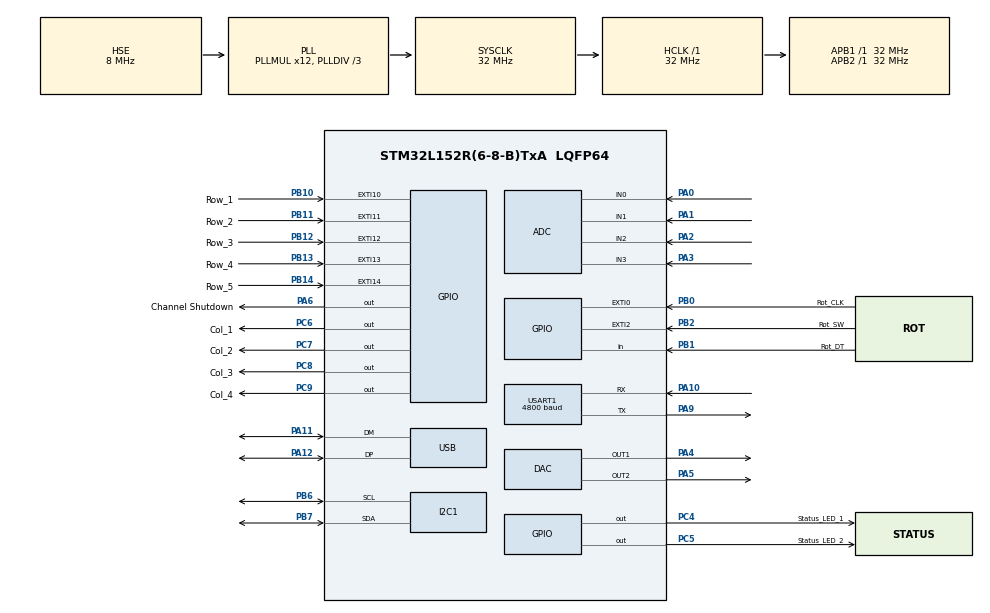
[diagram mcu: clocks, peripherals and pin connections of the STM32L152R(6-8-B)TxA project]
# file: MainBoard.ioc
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ADC.Channel-0\#ChannelRegularConversion=ADC_CHANNEL_0
ADC.Channel-1\#ChannelRegularConversion=ADC_CHANNEL_1
ADC.Channel-2\#ChannelRegularConversion=ADC_CHANNEL_2
ADC.Channel-3\#ChannelRegularConversion=ADC_CHANNEL_3
ADC.Channel-4\#ChannelRegularConversion=ADC_CHANNEL_VREFINT
ADC.ClockPrescaler=ADC_CLOCK_ASYNC_DIV4
ADC.ContinuousConvMode=ENABLE
ADC.DMAContinuousRequests=ENABLE
ADC.NbrOfConversion=5
ADC.NbrOfConversionFlag=1
ADC.Rank-0\#ChannelRegularConversion=1
ADC.Rank-1\#ChannelRegularConversion=2
ADC.Rank-2\#ChannelRegularConversion=3
ADC.Rank-3\#ChannelRegularConversion=4
ADC.Rank-4\#ChannelRegularConversion=5
ADC.SamplingTime-0\#ChannelRegularConversion=ADC_SAMPLETIME_192CYCLES
ADC.SamplingTime-1\#ChannelRegularConversion=ADC_SAMPLETIME_192CYCLES
ADC.SamplingTime-2\#ChannelRegularConversion=ADC_SAMPLETIME_192CYCLES
ADC.SamplingTime-3\#ChannelRegularConversion=ADC_SAMPLETIME_192CYCLES
ADC.SamplingTime-4\#ChannelRegularConversion=ADC_SAMPLETIME_192CYCLES
ADC.ScanConvMode=ADC_SCAN_ENABLE
Dma.ADC.0.Direction=DMA_PERIPH_TO_MEMORY
Dma.ADC.0.Instance=DMA1_Channel1
Dma.ADC.0.MemDataAlignment=DMA_MDATAALIGN_HALFWORD
Dma.ADC.0.MemInc=DMA_MINC_ENABLE
Dma.ADC.0.Mode=DMA_CIRCULAR
Dma.ADC.0.PeriphDataAlignment=DMA_PDATAALIGN_HALFWORD
Dma.ADC.0.PeriphInc=DMA_PINC_DISABLE
Dma.ADC.0.Priority=DMA_PRIORITY_LOW
Dma.Request0=ADC
Dma.Request1=USART1_RX
Dma.USART1_RX.1.Direction=DMA_PERIPH_TO_MEMORY
Dma.USART1_RX.1.Instance=DMA1_Channel5
Dma.USART1_RX.1.MemDataAlignment=DMA_MDATAALIGN_BYTE
Dma.USART1_RX.1.MemInc=DMA_MINC_ENABLE
Dma.USART1_RX.1.Mode=DMA_CIRCULAR
Dma.USART1_RX.1.PeriphDataAlignment=DMA_PDATAALIGN_BYTE
Dma.USART1_RX.1.PeriphInc=DMA_PINC_DISABLE
Dma.USART1_RX.1.Priority=DMA_PRIORITY_LOW
Mcu.Family=STM32L1
Mcu.Name=STM32L152R(6-8-B)TxA
Mcu.Package=LQFP64
NVIC.DMA1_Channel1_IRQn=true\:0\:0\:false\:false\:true\:false\:true\:true
NVIC.DMA1_Channel5_IRQn=true\:0\:0\:false\:false\:true\:false\:true\:true
NVIC.EXTI0_IRQn=true\:0\:0\:false\:false\:true\:true\:true\:true
NVIC.EXTI15_10_IRQn=true\:0\:0\:false\:false\:true\:true\:true\:true
NVIC.EXTI2_IRQn=true\:0\:0\:false\:false\:true\:true\:true\:true
NVIC.PriorityGroup=NVIC_PRIORITYGROUP_4
NVIC.TIM2_IRQn=true\:0\:0\:false\:false\:true\:true\:true\:true
NVIC.TIM3_IRQn=true\:0\:0\:false\:false\:true\:true\:true\:true
NVIC.USB_LP_IRQn=true\:0\:0\:false\:false\:true\:false\:true\:true
PA0-WKUP1.Mode=IN0
PA0-WKUP1.Signal=ADC_IN0
PA1.Mode=IN1
PA1.Signal=ADC_IN1
PA10.Mode=Asynchronous
PA10.Signal=USART1_RX
PA11.Mode=Device
PA11.Signal=USB_DM
PA12.Mode=Device
PA12.Signal=USB_DP
PA13.Mode=Serial_Wire
PA13.Signal=SYS_JTMS-SWDIO
PA14.Mode=Serial_Wire
PA14.Signal=SYS_JTCK-SWCLK
PA2.Mode=IN2
PA2.Signal=ADC_IN2
PA3.Mode=IN3
PA3.Signal=ADC_IN3
PA4.Signal=COMP_DAC1_group
PA5.Signal=COMP_DAC2_group
PA6.GPIO_Label=Channel Shutdown
PA6.PinState=GPIO_PIN_SET
PA6.Signal=GPIO_Output
PA9.Mode=Asynchronous
PA9.Signal=USART1_TX
PB0.GPIO_Label=Rot_CLK
PB0.GPIO_ModeDefaultEXTI=GPIO_MODE_IT_FALLING
PB0.GPIO_PuPd=GPIO_PULLUP
PB0.Signal=GPXTI0
PB1.GPIO_Label=Rot_DT
PB1.Signal=GPIO_Input
PB10.GPIO_Label=Row_1
PB10.GPIO_ModeDefaultEXTI=GPIO_MODE_IT_RISING_FALLING
PB10.GPIO_PuPd=GPIO_PULLUP
PB10.Signal=GPXTI10
PB11.GPIO_Label=Row_2
PB11.GPIO_ModeDefaultEXTI=GPIO_MODE_IT_RISING_FALLING
PB11.GPIO_PuPd=GPIO_PULLUP
PB11.Signal=GPXTI11
PB12.GPIO_Label=Row_3
PB12.GPIO_ModeDefaultEXTI=GPIO_MODE_IT_RISING_FALLING
PB12.GPIO_PuPd=GPIO_PULLUP
PB12.Signal=GPXTI12
PB13.GPIO_Label=Row_4
PB13.GPIO_ModeDefaultEXTI=GPIO_MODE_IT_RISING_FALLING
PB13.GPIO_PuPd=GPIO_PULLUP
PB13.Signal=GPXTI13
PB14.GPIO_Label=Row_5
PB14.GPIO_ModeDefaultEXTI=GPIO_MODE_IT_RISING_FALLING
PB14.GPIO_PuPd=GPIO_PULLUP
PB14.Signal=GPXTI14
PB2.GPIO_Label=Rot_SW
PB2.GPIO_ModeDefaultEXTI=GPIO_MODE_IT_FALLING
PB2.GPIO_PuPd=GPIO_PULLUP
PB2.Signal=GPXTI2
PB6.GPIO_Pu=GPIO_NOPULL
PB6.Mode=I2C
PB6.Signal=I2C1_SCL
PB7.GPIO_Pu=GPIO_NOPULL
PB7.Mode=I2C
PB7.Signal=I2C1_SDA
PC4.GPIO_Label=Status_LED_1
PC4.Signal=GPIO_Output
PC5.GPIO_Label=Status_LED_2
PC5.Signal=GPIO_Output
PC6.GPIO_Label=Col_1
PC6.Signal=GPIO_Output
PC7.GPIO_Label=Col_2
PC7.Signal=GPIO_Output
PC8.GPIO_Label=Col_3
PC8.Signal=GPIO_Output
PC9.GPIO_Label=Col_4
PC9.Signal=GPIO_Output
PH0-OSC_IN.Mode=HSE-External-Oscillator
PH0-OSC_IN.Signal=RCC_OSC_IN
PH1-OSC_OUT.Mode=HSE-External-Oscillator
PH1-OSC_OUT.Signal=RCC_OSC_OUT
ProjectManager.HeapSize=0x1000
ProjectManager.StackSize=0x2000
ProjectManager.TargetToolchain=MDK-ARM V5
RCC.48MHZClocksFreq_Value=48000000
RCC.AHBFreq_Value=32000000
RCC.APB1Freq_Value=32000000
RCC.APB1TimFreq_Value=32000000
RCC.APB2Freq_Value=32000000
RCC.APB2TimFreq_Value=32000000
RCC.HCLKFreq_Value=32000000
RCC.HSE_VALUE=8000000
RCC.HSI_VALUE=16000000
RCC.LSE_VALUE=32768
RCC.MSI_VALUE=2097000
RCC.PLLDIV=RCC_PLL_DIV3
RCC.PLLMUL=RCC_PLL_MUL12
RCC.SYSCLKFreq_VALUE=32000000
RCC.SYSCLKSource=RCC_SYSCLKSOURCE_PLLCLK
RCC.VCOOutputFreq_Value=96000000
SH.COMP_DAC1_group.0=DAC_OUT1,DAC_OUT1
SH.COMP_DAC2_group.0=DAC_OUT2,DAC_OUT2
TIM2.Period=10
TIM2.Prescaler=32000
TIM3.Period=500
TIM3.Prescaler=32000
USART1.BaudRate=4800
USART1.Parity=PARITY_ODD
USART1.VirtualMode=VM_ASYNC
USART1.WordLength=WORDLENGTH_9B
USB_DEVICE.CLASS_NAME_FS=CDC
USB_DEVICE.VirtualMode=Cdc
USB_DEVICE.VirtualModeFS=Cdc_FS
VP_ADC_Vref_Input.Mode=IN-Vrefint
VP_TIM2_VS_ClockSourceINT.Mode=Internal
VP_TIM3_VS_ClockSourceINT.Mode=Internal
VP_USB_DEVICE_VS_USB_DEVICE_CDC_FS.Mode=CDC_FS
board=custom

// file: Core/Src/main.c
/* USER CODE BEGIN Header */
/**
  ******************************************************************************
  * @file           : main.c
  * @brief          : Main program body
  ******************************************************************************
  * @attention
  *
  * Copyright (c) 2022 STMicroelectronics.
  * All rights reserved.
  *
  * This software is licensed under terms that can be found in the LICENSE file
  * in the root directory of this software component.
  * If no LICENSE file comes with this software, it is provided AS-IS.
  *
  ******************************************************************************
  */
/* USER CODE END Header */
#include "main.h"
#include "usb_device.h"

/* USER CODE BEGIN Includes */
#include "usbd_cdc_if.h"
#include "string.h"
/* USER CODE END Includes */

/* USER CODE BEGIN PD */

/* LCD Section Begin ---------------------------------------------------------*/
#define SLAVE_ADDRESS_LCD 0x4E // change this according to your setup

//Char 0 = Right Arrow
//Char 1 = Vertical Line
const uint8_t customChar[64] = {
	0x08,0x04,0x02,0x1F,0x02,0x04,0x08,0x00, //Custom Char 0
	0x04,0x04,0x04,0x4,0x04,0x04,0x04,0x04,  //Custom Char 1
	0x00,0x00,0x00,0x0,0x00,0x00,0x00,0x00,  //Custom Char 2
	0x00,0x00,0x00,0x0,0x00,0x00,0x00,0x00,  //Custom Char 3
	0x00,0x00,0x00,0x0,0x00,0x00,0x00,0x00,  //Custom Char 4
	0x00,0x00,0x00,0x0,0x00,0x00,0x00,0x00,  //Custom Char 5
	0x00,0x00,0x00,0x0,0x00,0x00,0x00,0x00,  //Custom Char 6
	0x00,0x00,0x00,0x0,0x00,0x00,0x00,0x00   //Custom Char 7
};
/* LCD Section End -----------------------------------------------------------*/

/* USER CODE END PD */

 ADC_HandleTypeDef hadc;
DMA_HandleTypeDef hdma_adc;

DAC_HandleTypeDef hdac;

I2C_HandleTypeDef hi2c1;

TIM_HandleTypeDef htim2;
TIM_HandleTypeDef htim3;

UART_HandleTypeDef huart1;
DMA_HandleTypeDef hdma_usart1_rx;

/* USER CODE BEGIN PV */

float P = 0.1;
float I = 0.1;
float D = 0.1;

/* USB Section Begin ---------------------------------------------------------*/
EXTI_HandleTypeDef hexti1;

uint8_t usbbuffer[128];//Usb buffer
uint8_t txbuffer[64];//Uart TX Buffer
uint8_t rxbuffer[64];//Uart RX Buffer
uint8_t rxbuffercpy[64];//Uart RX Buffer copy for manipulation
/* USB Section End -----------------------------------------------------------*/

/* Keypad Section Begin ------------------------------------------------------*/
int rowpin = -1;
int kpedge = 1; //0== falling edge 1== rising edge

uint8_t keypadlength = 5;
char keypadarr[5] = {'z','z','z','z','z'};//z is null
int keypaditerator = 4;
uint8_t keypaddecimal = 0;
enum keypadenum {WAIT, V1, A1, V2, A2};
enum keypadenum kpenum = WAIT;
/* Keypad Section End --------------------------------------------------------*/

//Channel numbers
float voltnum1 = 0.0;
float ampnum1 = 0.0;
float voltnum2 = 0.0;
float ampnum2 = 0.0;

float correctedvoltnum1;

uint8_t first_shot = 1;

//Array for the adc values and vars to hold them
uint16_t adcvalues[5];
uint16_t adc_current = 0;
uint16_t adc_linear = 0;
uint16_t adc_opamp = 0;
uint16_t adc_switching = 0;
uint16_t adc_vref = 0;
uint16_t* vrefptr = ((uint16_t*)VREFINT_CAL_ADDR_CMSIS);

//Globals for adc values
uint16_t v1;
float lin_num;
float cur_num;
float op_num;
float swi_num;

// The value for the Intgral part of the PID controller
float error = 0;
float derivative = 0;
float integral = 0;
float error_previous = 0;
float correction = 0;

/* USER CODE END PV */

void SystemClock_Config(void);
static void MX_GPIO_Init(void);
static void MX_ADC_Init(void);
static void MX_DAC_Init(void);
static void MX_I2C1_Init(void);
static void MX_DMA_Init(void);
static void MX_USART1_UART_Init(void);
static void MX_TIM3_Init(void);
static void MX_TIM2_Init(void);
/* USER CODE BEGIN PFP */

void ourInit(void);//Runs several Inits

/* USB Section Begin ---------------------------------------------------------*/
void USB_EXTIinit(void);
void USB_Interrupt_Callback(void);
void EXTI1_IRQHandler(void);
/* USB Section End -----------------------------------------------------------*/

/* LCD Section Begin ---------------------------------------------------------*/
void lcd_init (void);   // initialize lcd
void lcd_send_cmd (char cmd);  // send command to the lcd
void lcd_send_data (char data);  // send data to the lcd
void lcd_send_string (char *str);  // send string to the lcd
void lcd_put_cur(int row, int col);  // put cursor at the entered position row (0 or 1), col (0-15);
void lcd_clear (void);
void LCD_CursorBlinkOnOff( uint8_t cursor_status, uint8_t blink_status );
void lcd_createChar(void);
void lcd_psu_init(void);
void lcd_update_voltage(uint8_t channel, float num);
void lcd_update_amperage(uint8_t channel, float num);
void lcd_psu_update(void);
/* LCD Section End -----------------------------------------------------------*/

/* Keypad Section Begin ------------------------------------------------------*/
void updatekeypad(char num);
void clearkeypad(void);
float translatekeypad(void);
uint8_t checkkeypad(uint8_t which);
void keypadsm(char num);
void rowInput(void);
void columnInput(void);
/* Keypad Section End --------------------------------------------------------*/

/* USER CODE END PFP */

int main(void)
{

  /* MCU Configuration--------------------------------------------------------*/

  /* Reset of all peripherals, Initializes the Flash interface and the Systick. */
  HAL_Init();

  /* Configure the system clock */
  SystemClock_Config();

  /* Initialize all configured peripherals */
  MX_GPIO_Init();
  MX_ADC_Init();
  MX_DAC_Init();
  MX_I2C1_Init();
  MX_DMA_Init();
  MX_USB_DEVICE_Init();
  MX_USART1_UART_Init();
  MX_TIM3_Init();
  MX_TIM2_Init();
  /* USER CODE BEGIN 2 */
	ourInit();
	//HAL_GPIO_WritePin(Channel_Shutdown_GPIO_Port, Channel_Shutdown_Pin, GPIO_PIN_RESET);
	//HAL_DAC_SetValue(&hdac, DAC_CHANNEL_1, DAC_ALIGN_12B_R, 1024);
  /* USER CODE END 2 */

  /* Infinite loop */
  while (1)
  {

    /* USER CODE BEGIN 3 */

		//CDC_Transmit_FS((uint8_t*)"Hello World",sizeof("Hello World"));

		//Control channel here

		if(voltnum1 <= 0.00){
			HAL_GPIO_WritePin(Channel_Shutdown_GPIO_Port, Channel_Shutdown_Pin, GPIO_PIN_SET);
			HAL_GPIO_WritePin(Status_LED_1_GPIO_Port, Status_LED_1_Pin, GPIO_PIN_RESET);
		}

		uint16_t vrefvalue = (uint16_t)*vrefptr;
		float vddcalc = (float)3.0 * ((float)vrefvalue / (float)adc_vref);

		float cur_num_temp = ((((float)3.0 * (float)adc_current * (float)vrefvalue)/((float)adc_vref * (float)4095) / (float)20) / (float)0.15);
		if(cur_num_temp >= 0.0000){
			cur_num = cur_num_temp;
		}
		else{
			cur_num = 0.0000;
		}
		//float cur_num = (((float)vddcalc * (float)adc_current * (float)4095) / (float)20) / (float)0.3;
		float op_num_temp = ((float)3.0 * ((float)adc_opamp * (float)4.0) * (float)vrefvalue)/((float)adc_vref * (float)4095) - ((float)cur_num * (float)0.35);
		if(op_num_temp >= 0.0000){
			op_num = op_num_temp;
		}
		else{
			op_num = 0.0000;
		}
		float lin_num_temp = ((float)3.0 * ((float)adc_linear * (float)4.0) * (float)vrefvalue)/((float)adc_vref * (float)4095) - ((float)cur_num * (float)0.35);
		if(lin_num_temp >= 0.0000){
			lin_num = lin_num_temp;
		}
		else{
			lin_num = 0.0000;
		}
		//float lin_num = ((float)vddcalc * (float)adc_linear * (float)4095) * (float)4;
		float swi_num_temp = ((float)3.0 * ((float)adc_switching * (float)5.0) * (float)vrefvalue)/((float)adc_vref * (float)4095);
		if(swi_num_temp >= 0.0000){
			swi_num = swi_num_temp;
		}
		else{
			swi_num = 0.0000;
		}

		if(first_shot){
			v1 = (uint16_t)((( (((float)voltnum1) / (float)4.0) + ((float)0.446974063 / (float)4.0)) * (float)4095) / (float)vddcalc);
			HAL_DAC_SetValue(&hdac, DAC_CHANNEL_1, DAC_ALIGN_12B_R, v1);
			correctedvoltnum1 = voltnum1;
			integral = 0;
			error = 0;
			derivative = 0;
			first_shot = 0;
		}

/*
		else{ // Bang-Bang Controller
			//Try really hard to get the voltage right
			const float margin = 0.05;
			if(lin_num > voltnum1 + margin){
				v1--;
				HAL_DAC_SetValue(&hdac, DAC_CHANNEL_1, DAC_ALIGN_12B_R, v1);
			}
			else if(lin_num < voltnum1 - margin){
				v1++;
				HAL_DAC_SetValue(&hdac, DAC_CHANNEL_1, DAC_ALIGN_12B_R, v1);
			}
		}
*/

		else {
			error = lin_num - voltnum1;
			integral += error;
			derivative = error - error_previous;
			error_previous = error;
			correction = P * error + I * integral + D * derivative;
			correctedvoltnum1 = voltnum1 - correction;
			if(correctedvoltnum1 > 12.0){
				correctedvoltnum1 = 12.0;
			}
			else if(correctedvoltnum1 < 0.0){
				correctedvoltnum1 = 0.0;
			}
			v1 = (uint16_t)((( (correctedvoltnum1 / (float)4.0) + ((float)0.446974063 / (float)4.0)) * (float)4095) / (float)vddcalc);
			HAL_DAC_SetValue(&hdac, DAC_CHANNEL_1, DAC_ALIGN_12B_R, v1);
		}

		if(voltnum1 > 0.00){
			HAL_GPIO_WritePin(Channel_Shutdown_GPIO_Port, Channel_Shutdown_Pin, GPIO_PIN_RESET);
			HAL_GPIO_WritePin(Status_LED_1_GPIO_Port, Status_LED_1_Pin, GPIO_PIN_SET);
		}

		HAL_Delay(1);
  }
  /* USER CODE END 3 */
}

void SystemClock_Config(void)
{
  RCC_OscInitTypeDef RCC_OscInitStruct = {0};
  RCC_ClkInitTypeDef RCC_ClkInitStruct = {0};

  /** Configure the main internal regulator output voltage
  */
  __HAL_PWR_VOLTAGESCALING_CONFIG(PWR_REGULATOR_VOLTAGE_SCALE1);

  /** Initializes the RCC Oscillators according to the specified parameters
  * in the RCC_OscInitTypeDef structure.
  */
  RCC_OscInitStruct.OscillatorType = RCC_OSCILLATORTYPE_HSI|RCC_OSCILLATORTYPE_HSE;
  RCC_OscInitStruct.HSEState = RCC_HSE_ON;
  RCC_OscInitStruct.HSIState = RCC_HSI_ON;
  RCC_OscInitStruct.HSICalibrationValue = RCC_HSICALIBRATION_DEFAULT;
  RCC_OscInitStruct.PLL.PLLState = RCC_PLL_ON;
  RCC_OscInitStruct.PLL.PLLSource = RCC_PLLSOURCE_HSE;
  RCC_OscInitStruct.PLL.PLLMUL = RCC_PLL_MUL12;
  RCC_OscInitStruct.PLL.PLLDIV = RCC_PLL_DIV3;
  if (HAL_RCC_OscConfig(&RCC_OscInitStruct) != HAL_OK)
  {
    Error_Handler();
  }

  /** Initializes the CPU, AHB and APB buses clocks
  */
  RCC_ClkInitStruct.ClockType = RCC_CLOCKTYPE_HCLK|RCC_CLOCKTYPE_SYSCLK
                              |RCC_CLOCKTYPE_PCLK1|RCC_CLOCKTYPE_PCLK2;
  RCC_ClkInitStruct.SYSCLKSource = RCC_SYSCLKSOURCE_PLLCLK;
  RCC_ClkInitStruct.AHBCLKDivider = RCC_SYSCLK_DIV1;
  RCC_ClkInitStruct.APB1CLKDivider = RCC_HCLK_DIV1;
  RCC_ClkInitStruct.APB2CLKDivider = RCC_HCLK_DIV1;

  if (HAL_RCC_ClockConfig(&RCC_ClkInitStruct, FLASH_LATENCY_1) != HAL_OK)
  {
    Error_Handler();
  }
}

static void MX_ADC_Init(void)
{

  ADC_ChannelConfTypeDef sConfig = {0};

  /** Configure the global features of the ADC (Clock, Resolution, Data Alignment and number of conversion)
  */
  hadc.Instance = ADC1;
  hadc.Init.ClockPrescaler = ADC_CLOCK_ASYNC_DIV4;
  hadc.Init.Resolution = ADC_RESOLUTION_12B;
  hadc.Init.DataAlign = ADC_DATAALIGN_RIGHT;
  hadc.Init.ScanConvMode = ADC_SCAN_ENABLE;
  hadc.Init.EOCSelection = ADC_EOC_SEQ_CONV;
  hadc.Init.LowPowerAutoWait = ADC_AUTOWAIT_DISABLE;
  hadc.Init.LowPowerAutoPowerOff = ADC_AUTOPOWEROFF_DISABLE;
  hadc.Init.ChannelsBank = ADC_CHANNELS_BANK_A;
  hadc.Init.ContinuousConvMode = ENABLE;
  hadc.Init.NbrOfConversion = 5;
  hadc.Init.DiscontinuousConvMode = DISABLE;
  hadc.Init.ExternalTrigConv = ADC_SOFTWARE_START;
  hadc.Init.ExternalTrigConvEdge = ADC_EXTERNALTRIGCONVEDGE_NONE;
  hadc.Init.DMAContinuousRequests = ENABLE;
  if (HAL_ADC_Init(&hadc) != HAL_OK)
  {
    Error_Handler();
  }

  /** Configure for the selected ADC regular channel its corresponding rank in the sequencer and its sample time.
  */
  sConfig.Channel = ADC_CHANNEL_0;
  sConfig.Rank = ADC_REGULAR_RANK_1;
  sConfig.SamplingTime = ADC_SAMPLETIME_192CYCLES;
  if (HAL_ADC_ConfigChannel(&hadc, &sConfig) != HAL_OK)
  {
    Error_Handler();
  }

  /** Configure for the selected ADC regular channel its corresponding rank in the sequencer and its sample time.
  */
  sConfig.Channel = ADC_CHANNEL_1;
  sConfig.Rank = ADC_REGULAR_RANK_2;
  if (HAL_ADC_ConfigChannel(&hadc, &sConfig) != HAL_OK)
  {
    Error_Handler();
  }

  /** Configure for the selected ADC regular channel its corresponding rank in the sequencer and its sample time.
  */
  sConfig.Channel = ADC_CHANNEL_2;
  sConfig.Rank = ADC_REGULAR_RANK_3;
  if (HAL_ADC_ConfigChannel(&hadc, &sConfig) != HAL_OK)
  {
    Error_Handler();
  }

  /** Configure for the selected ADC regular channel its corresponding rank in the sequencer and its sample time.
  */
  sConfig.Channel = ADC_CHANNEL_3;
  sConfig.Rank = ADC_REGULAR_RANK_4;
  if (HAL_ADC_ConfigChannel(&hadc, &sConfig) != HAL_OK)
  {
    Error_Handler();
  }

  /** Configure for the selected ADC regular channel its corresponding rank in the sequencer and its sample time.
  */
  sConfig.Channel = ADC_CHANNEL_VREFINT;
  sConfig.Rank = ADC_REGULAR_RANK_5;
  if (HAL_ADC_ConfigChannel(&hadc, &sConfig) != HAL_OK)
  {
    Error_Handler();
  }

}

static void MX_DAC_Init(void)
{

  DAC_ChannelConfTypeDef sConfig = {0};

  /** DAC Initialization
  */
  hdac.Instance = DAC;
  if (HAL_DAC_Init(&hdac) != HAL_OK)
  {
    Error_Handler();
  }

  /** DAC channel OUT1 config
  */
  sConfig.DAC_Trigger = DAC_TRIGGER_NONE;
  sConfig.DAC_OutputBuffer = DAC_OUTPUTBUFFER_ENABLE;
  if (HAL_DAC_ConfigChannel(&hdac, &sConfig, DAC_CHANNEL_1) != HAL_OK)
  {
    Error_Handler();
  }

  /** DAC channel OUT2 config
  */
  if (HAL_DAC_ConfigChannel(&hdac, &sConfig, DAC_CHANNEL_2) != HAL_OK)
  {
    Error_Handler();
  }

}

static void MX_I2C1_Init(void)
{

  hi2c1.Instance = I2C1;
  hi2c1.Init.ClockSpeed = 100000;
  hi2c1.Init.DutyCycle = I2C_DUTYCYCLE_2;
  hi2c1.Init.OwnAddress1 = 0;
  hi2c1.Init.AddressingMode = I2C_ADDRESSINGMODE_7BIT;
  hi2c1.Init.DualAddressMode = I2C_DUALADDRESS_DISABLE;
  hi2c1.Init.OwnAddress2 = 0;
  hi2c1.Init.GeneralCallMode = I2C_GENERALCALL_DISABLE;
  hi2c1.Init.NoStretchMode = I2C_NOSTRETCH_DISABLE;
  if (HAL_I2C_Init(&hi2c1) != HAL_OK)
  {
    Error_Handler();
  }

}

static void MX_TIM2_Init(void)
{

  TIM_ClockConfigTypeDef sClockSourceConfig = {0};
  TIM_MasterConfigTypeDef sMasterConfig = {0};

  htim2.Instance = TIM2;
  htim2.Init.Prescaler = 32000;
  htim2.Init.CounterMode = TIM_COUNTERMODE_UP;
  htim2.Init.Period = 10;
  htim2.Init.ClockDivision = TIM_CLOCKDIVISION_DIV1;
  htim2.Init.AutoReloadPreload = TIM_AUTORELOAD_PRELOAD_DISABLE;
  if (HAL_TIM_Base_Init(&htim2) != HAL_OK)
  {
    Error_Handler();
  }
  sClockSourceConfig.ClockSource = TIM_CLOCKSOURCE_INTERNAL;
  if (HAL_TIM_ConfigClockSource(&htim2, &sClockSourceConfig) != HAL_OK)
  {
    Error_Handler();
  }
  sMasterConfig.MasterOutputTrigger = TIM_TRGO_RESET;
  sMasterConfig.MasterSlaveMode = TIM_MASTERSLAVEMODE_DISABLE;
  if (HAL_TIMEx_MasterConfigSynchronization(&htim2, &sMasterConfig) != HAL_OK)
  {
    Error_Handler();
  }

}

static void MX_TIM3_Init(void)
{

  TIM_ClockConfigTypeDef sClockSourceConfig = {0};
  TIM_MasterConfigTypeDef sMasterConfig = {0};

  htim3.Instance = TIM3;
  htim3.Init.Prescaler = 32000;
  htim3.Init.CounterMode = TIM_COUNTERMODE_UP;
  htim3.Init.Period = 500;
  htim3.Init.ClockDivision = TIM_CLOCKDIVISION_DIV1;
  htim3.Init.AutoReloadPreload = TIM_AUTORELOAD_PRELOAD_DISABLE;
  if (HAL_TIM_Base_Init(&htim3) != HAL_OK)
  {
    Error_Handler();
  }
  sClockSourceConfig.ClockSource = TIM_CLOCKSOURCE_INTERNAL;
  if (HAL_TIM_ConfigClockSource(&htim3, &sClockSourceConfig) != HAL_OK)
  {
    Error_Handler();
  }
  sMasterConfig.MasterOutputTrigger = TIM_TRGO_RESET;
  sMasterConfig.MasterSlaveMode = TIM_MASTERSLAVEMODE_DISABLE;
  if (HAL_TIMEx_MasterConfigSynchronization(&htim3, &sMasterConfig) != HAL_OK)
  {
    Error_Handler();
  }

}

static void MX_USART1_UART_Init(void)
{

  huart1.Instance = USART1;
  huart1.Init.BaudRate = 4800;
  huart1.Init.WordLength = UART_WORDLENGTH_9B;
  huart1.Init.StopBits = UART_STOPBITS_1;
  huart1.Init.Parity = UART_PARITY_ODD;
  huart1.Init.Mode = UART_MODE_TX_RX;
  huart1.Init.HwFlowCtl = UART_HWCONTROL_NONE;
  huart1.Init.OverSampling = UART_OVERSAMPLING_16;
  if (HAL_UART_Init(&huart1) != HAL_OK)
  {
    Error_Handler();
  }

}

static void MX_DMA_Init(void)
{

  /* DMA controller clock enable */
  __HAL_RCC_DMA1_CLK_ENABLE();

  /* DMA interrupt init */
  /* DMA1_Channel1_IRQn interrupt configuration */
  HAL_NVIC_SetPriority(DMA1_Channel1_IRQn, 0, 0);
  HAL_NVIC_EnableIRQ(DMA1_Channel1_IRQn);
  /* DMA1_Channel5_IRQn interrupt configuration */
  HAL_NVIC_SetPriority(DMA1_Channel5_IRQn, 0, 0);
  HAL_NVIC_EnableIRQ(DMA1_Channel5_IRQn);

}

static void MX_GPIO_Init(void)
{
  GPIO_InitTypeDef GPIO_InitStruct = {0};

  /* GPIO Ports Clock Enable */
  __HAL_RCC_GPIOH_CLK_ENABLE();
  __HAL_RCC_GPIOA_CLK_ENABLE();
  __HAL_RCC_GPIOC_CLK_ENABLE();
  __HAL_RCC_GPIOB_CLK_ENABLE();

  /*Configure GPIO pin Output Level */
  HAL_GPIO_WritePin(Channel_Shutdown_GPIO_Port, Channel_Shutdown_Pin, GPIO_PIN_SET);

  /*Configure GPIO pin Output Level */
  HAL_GPIO_WritePin(GPIOC, Status_LED_1_Pin|Status_LED_2_Pin|Col_1_Pin|Col_2_Pin
                          |Col_3_Pin|Col_4_Pin, GPIO_PIN_RESET);

  /*Configure GPIO pin : Channel_Shutdown_Pin */
  GPIO_InitStruct.Pin = Channel_Shutdown_Pin;
  GPIO_InitStruct.Mode = GPIO_MODE_OUTPUT_PP;
  GPIO_InitStruct.Pull = GPIO_NOPULL;
  GPIO_InitStruct.Speed = GPIO_SPEED_FREQ_LOW;
  HAL_GPIO_Init(Channel_Shutdown_GPIO_Port, &GPIO_InitStruct);

  /*Configure GPIO pins : Status_LED_1_Pin Status_LED_2_Pin Col_1_Pin Col_2_Pin
                           Col_3_Pin Col_4_Pin */
  GPIO_InitStruct.Pin = Status_LED_1_Pin|Status_LED_2_Pin|Col_1_Pin|Col_2_Pin
                          |Col_3_Pin|Col_4_Pin;
  GPIO_InitStruct.Mode = GPIO_MODE_OUTPUT_PP;
  GPIO_InitStruct.Pull = GPIO_NOPULL;
  GPIO_InitStruct.Speed = GPIO_SPEED_FREQ_LOW;
  HAL_GPIO_Init(GPIOC, &GPIO_InitStruct);

  /*Configure GPIO pins : Rot_CLK_Pin Rot_SW_Pin */
  GPIO_InitStruct.Pin = Rot_CLK_Pin|Rot_SW_Pin;
  GPIO_InitStruct.Mode = GPIO_MODE_IT_FALLING;
  GPIO_InitStruct.Pull = GPIO_PULLUP;
  HAL_GPIO_Init(GPIOB, &GPIO_InitStruct);

  /*Configure GPIO pin : Rot_DT_Pin */
  GPIO_InitStruct.Pin = Rot_DT_Pin;
  GPIO_InitStruct.Mode = GPIO_MODE_INPUT;
  GPIO_InitStruct.Pull = GPIO_NOPULL;
  HAL_GPIO_Init(Rot_DT_GPIO_Port, &GPIO_InitStruct);

  /*Configure GPIO pins : Row_1_Pin Row_2_Pin Row_3_Pin Row_4_Pin
                           Row_5_Pin */
  GPIO_InitStruct.Pin = Row_1_Pin|Row_2_Pin|Row_3_Pin|Row_4_Pin
                          |Row_5_Pin;
  GPIO_InitStruct.Mode = GPIO_MODE_IT_RISING_FALLING;
  GPIO_InitStruct.Pull = GPIO_PULLUP;
  HAL_GPIO_Init(GPIOB, &GPIO_InitStruct);

  /* EXTI interrupt init*/
  HAL_NVIC_SetPriority(EXTI0_IRQn, 0, 0);
  HAL_NVIC_EnableIRQ(EXTI0_IRQn);

  HAL_NVIC_SetPriority(EXTI2_IRQn, 0, 0);
  HAL_NVIC_EnableIRQ(EXTI2_IRQn);

  HAL_NVIC_SetPriority(EXTI15_10_IRQn, 0, 0);
  HAL_NVIC_EnableIRQ(EXTI15_10_IRQn);

}

/* USER CODE BEGIN 4 */

void ourInit(void){
	HAL_GPIO_WritePin(Channel_Shutdown_GPIO_Port, Channel_Shutdown_Pin, GPIO_PIN_SET);	//Ensure shutdown is enabled
	/*
	 * The HAL library is dumb and tries to init the adc before the DMA which does not work
	 * if the ADC is using the DMA. This init code is placed in space reserved for CubeMx so
	 * manually reordering it will be overwritten every time we regenerate code.
	 */
	HAL_ADC_DeInit(&hadc);
	HAL_DMA_DeInit(&hdma_adc);
	MX_DMA_Init();
	MX_ADC_Init();

	//Actually our init now
	HAL_ADC_Start_DMA(&hadc, (uint32_t*)&adcvalues, 5);// start the adc in dma mode
	HAL_DAC_Start(&hdac, DAC_CHANNEL_1);
	HAL_DAC_Start(&hdac, DAC_CHANNEL_2);
	HAL_DAC_SetValue(&hdac, DAC_CHANNEL_1, DAC_ALIGN_12B_R, 0);
	HAL_DAC_SetValue(&hdac, DAC_CHANNEL_2, DAC_ALIGN_12B_R, 0);
	USB_EXTIinit();
	//Ensure keypad columns output 0 by default
	HAL_GPIO_WritePin(Col_1_GPIO_Port, Col_1_Pin|Col_2_Pin|Col_3_Pin|Col_4_Pin, GPIO_PIN_RESET);

	//LCD Init
	lcd_psu_init();
	//Start display timer
	HAL_TIM_Base_Start_IT(&htim3);

	memset (usbbuffer, '\0', 128);  // clear the buffer
	memset (txbuffer, '\0', 64);  // clear the buffer
	memset (rxbuffer, '\0', 64);  // clear the buffer
	memset (rxbuffercpy, '\0', 64);  // clear the buffer

	HAL_UART_Receive_DMA (&huart1, rxbuffer, 64);  // Receive 32 Bytes of data
}

/* USB Section Begin ---------------------------------------------------------*/
void USB_EXTIinit(void)
{
  EXTI_ConfigTypeDef ExtiConfig;

  ExtiConfig.Line = EXTI_LINE_1;
  ExtiConfig.Mode = EXTI_MODE_INTERRUPT;
  ExtiConfig.Trigger = EXTI_TRIGGER_RISING_FALLING;
  HAL_EXTI_SetConfigLine(&hexti1, &ExtiConfig);

	//The function below doesn't work and I don't know why so we just call our callback in the irqhandler
	//HAL_EXTI_RegisterCallback(&hexti1, HAL_EXTI_COMMON_CB_ID, USB_Interrupt_Callback);

	HAL_NVIC_SetPriority(EXTI1_IRQn, 0, 0);
  HAL_NVIC_EnableIRQ(EXTI1_IRQn);
}

void EXTI1_IRQHandler(void)
{
	__HAL_GPIO_EXTI_CLEAR_IT(EXTI1_IRQn);
	USB_Interrupt_Callback();
}
/* USB Section End -----------------------------------------------------------*/

/* LCD Section Begin ---------------------------------------------------------*/
/*
 * The code for every function here except for lcd_createChar was taken from
 * https://controllerstech.com/lcd-20x4-using-i2c-with-stm32/
 * The remaining function was taken from
 * https://circuitdigest.com/microcontroller-projects/custom-characters-on-lcd-using-pic16f877a
 */
void lcd_send_cmd (char cmd)
{
  char data_u, data_l;
	uint8_t data_t[4];
	data_u = (cmd&0xf0);
	data_l = ((cmd<<4)&0xf0);
	data_t[0] = data_u|0x0C;  //en=1, rs=0
	data_t[1] = data_u|0x08;  //en=0, rs=0
	data_t[2] = data_l|0x0C;  //en=1, rs=0
	data_t[3] = data_l|0x08;  //en=0, rs=0
	HAL_I2C_Master_Transmit (&hi2c1, SLAVE_ADDRESS_LCD,(uint8_t *) data_t, 4, 100);
}

void lcd_send_data (char data)
{
	char data_u, data_l;
	uint8_t data_t[4];
	data_u = (data&0xf0);
	data_l = ((data<<4)&0xf0);
	data_t[0] = data_u|0x0D;  //en=1, rs=0
	data_t[1] = data_u|0x09;  //en=0, rs=0
	data_t[2] = data_l|0x0D;  //en=1, rs=0
	data_t[3] = data_l|0x09;  //en=0, rs=0
	HAL_I2C_Master_Transmit (&hi2c1, SLAVE_ADDRESS_LCD,(uint8_t *) data_t, 4, 100);
}

void LCD_CursorBlinkOnOff( uint8_t cursor_status, uint8_t blink_status){

	if( blink_status == 1 && cursor_status == 1){
		lcd_send_cmd(0x0F);
	}
	else if(blink_status == 0 && cursor_status == 1){
		lcd_send_cmd(0x0E);
	}
	else if(blink_status == 1 && cursor_status == 0){
		lcd_send_cmd(0x0D);
	}
	else {
		lcd_send_cmd(0x0C);
	}
}

void LCD_BlinkOnOff( uint8_t status ){

	if( status == 1 ){
		lcd_send_cmd(0x0D);
	}
	else {
		lcd_send_cmd(0x0C);
	}
}

void lcd_clear (void)
{
	lcd_send_cmd (0x00);
	for (int i=0; i<100; i++)
	{
		lcd_send_data (' ');
	}
}

void lcd_put_cur(int row, int col)
{
    switch (row)
    {
        case 0:
            col += 0x80;
            break;
        case 1:
            col += 0xC0;  //C0
            break;
        case 2:
            col += 0x94;	//0x80|0x14 for row 3 col 2
            break;
        case 3:
            col += 0xD4;
            break;
    }

    lcd_send_cmd (col);
}

void lcd_init (void)
{
uint8_t i=0;
HAL_Delay(100);
for(i=0;i<3;i++)//sending 3 times: select 4-bit mode
{
lcd_send_cmd(0x03);
HAL_Delay(45);
}
lcd_send_cmd (0x02);
HAL_Delay(100);
lcd_send_cmd (0x28);
HAL_Delay(1);
lcd_send_cmd (0x0c);
HAL_Delay(1);
lcd_send_cmd (0x80);
HAL_Delay(1);
lcd_createChar();
lcd_clear();
}
void lcd_send_string (char *str)
{
	while (*str) lcd_send_data (*str++);
}
void lcd_createChar(void)
{
//*** Load custom char into the CGROM***//////
  lcd_send_cmd(0x40);   // Set CGRAM Address
	HAL_Delay(1);
  lcd_send_cmd(0x00);   // .. set CGRAM Address
	HAL_Delay(1);
  for(int i = 0; i <= 63 ; i++){
    lcd_send_data(customChar[i]);
		HAL_Delay(1);
	}
  lcd_send_cmd(0);      // Return to Home
	HAL_Delay(1);
  lcd_send_cmd(2);      // .. return to Home
	HAL_Delay(1);
  //*** Loading custom char complete***//////
}

void lcd_psu_init(void){
	lcd_init();

	lcd_put_cur(0, 0);
  lcd_send_string("V1:0.00V ");
	lcd_send_data((uint8_t)1);//Custom Char 1
	lcd_send_string("V1");
	lcd_send_data((uint8_t)0);//Custom Char 0
	lcd_send_string(":0.00V");

	lcd_put_cur(1, 0);
  lcd_send_string("A1:0.00A ");
	lcd_send_data((uint8_t)1);
	lcd_send_string("A1");
	lcd_send_data((uint8_t)0);
	lcd_send_string(":0.00A");

	lcd_put_cur(2, 0);
	lcd_send_string("V2:0.00V ");
	lcd_send_data((uint8_t)1);
	lcd_send_string("V2");
	lcd_send_data((uint8_t)0);
	lcd_send_string(":0.00V");

	lcd_put_cur(3, 0);
  lcd_send_string("A2:0.00A ");
	lcd_send_data((uint8_t)1);
	lcd_send_string("A2");
	lcd_send_data((uint8_t)0);
	lcd_send_string(":0.00A");
}

void lcd_psu_update(void){
	LCD_CursorBlinkOnOff(0,0);
	if(kpenum == WAIT){
		lcd_update_voltage(1,voltnum1);
		lcd_update_amperage(1,ampnum1);
		lcd_update_voltage(2,lin_num);
		lcd_update_amperage(2,cur_num);
		lcd_update_voltage(3,voltnum2);
		lcd_update_amperage(3,ampnum2);
		lcd_update_voltage(4,swi_num);
	}
	else if(kpenum == V1){
		//lcd_update_voltage(1,voltnum1);
		lcd_update_amperage(1,ampnum1);
		lcd_update_voltage(2,lin_num);
		lcd_update_amperage(2,cur_num);
		lcd_update_voltage(3,voltnum2);
		lcd_update_amperage(3,ampnum2);
		lcd_update_voltage(4,swi_num);
		lcd_put_cur(0,3);
		lcd_send_string("      ");
		lcd_put_cur(0,3);
		LCD_CursorBlinkOnOff(1,1);
		//Print the keypad array
		if(keypadarr[0] != 'z'){
			lcd_send_data(keypadarr[0]);
		}
		if(keypadarr[1] != 'z'){
			lcd_send_data(keypadarr[1]);
		}
		if(keypadarr[2] != 'z'){
			lcd_send_data(keypadarr[2]);
		}
		if(keypadarr[3] != 'z'){
			lcd_send_data(keypadarr[3]);
		}
		if(keypadarr[4] != 'z'){
			lcd_send_data(keypadarr[4]);
		}
	}
	else if(kpenum == V2){
		lcd_update_voltage(1,voltnum1);
		lcd_update_amperage(1,ampnum1);
		lcd_update_voltage(2,lin_num);
		lcd_update_amperage(2,cur_num);
		//lcd_update_voltage(3,voltnum2);
		lcd_update_amperage(3,ampnum2);
		lcd_update_voltage(4,swi_num);
		lcd_put_cur(2,3);
		lcd_send_string("      ");
		lcd_put_cur(2,3);
		LCD_CursorBlinkOnOff(1,1);
		//Print the keypad array
		if(keypadarr[0] != 'z'){
			lcd_send_data(keypadarr[0]);
		}
		if(keypadarr[1] != 'z'){
			lcd_send_data(keypadarr[1]);
		}
		if(keypadarr[2] != 'z'){
			lcd_send_data(keypadarr[2]);
		}
		if(keypadarr[3] != 'z'){
			lcd_send_data(keypadarr[3]);
		}
		if(keypadarr[4] != 'z'){
			lcd_send_data(keypadarr[4]);
		}
	}
	else if(kpenum == A1){
		lcd_update_voltage(1,voltnum1);
		//lcd_update_amperage(1,ampnum1);
		lcd_update_voltage(2,lin_num);
		lcd_update_amperage(2,cur_num);
		lcd_update_voltage(3,voltnum2);
		lcd_update_amperage(3,ampnum2);
		lcd_update_voltage(4,swi_num);
		lcd_put_cur(1,3);
		lcd_send_string("      ");
		lcd_put_cur(1,3);
		LCD_CursorBlinkOnOff(1,1);
		//Print the keypad array
		if(keypadarr[0] != 'z'){
			lcd_send_data(keypadarr[0]);
		}
		if(keypadarr[1] != 'z'){
			lcd_send_data(keypadarr[1]);
		}
		if(keypadarr[2] != 'z'){
			lcd_send_data(keypadarr[2]);
		}
		if(keypadarr[3] != 'z'){
			lcd_send_data(keypadarr[3]);
		}
		if(keypadarr[4] != 'z'){
			lcd_send_data(keypadarr[4]);
		}
	}
	else if(kpenum == A2){
		lcd_update_voltage(1,voltnum1);
		lcd_update_amperage(1,ampnum1);
		lcd_update_voltage(2,lin_num);
		lcd_update_amperage(2,cur_num);
		lcd_update_voltage(3,voltnum2);
		//lcd_update_amperage(3,ampnum2);
		lcd_update_voltage(4,swi_num);
		lcd_put_cur(3,3);
		lcd_send_string("      ");
		lcd_put_cur(3,3);
		LCD_CursorBlinkOnOff(1,1);
		//Print the keypad array
		if(keypadarr[0] != 'z'){
			lcd_send_data(keypadarr[0]);
		}
		if(keypadarr[1] != 'z'){
			lcd_send_data(keypadarr[1]);
		}
		if(keypadarr[2] != 'z'){
			lcd_send_data(keypadarr[2]);
		}
		if(keypadarr[3] != 'z'){
			lcd_send_data(keypadarr[3]);
		}
		if(keypadarr[4] != 'z'){
			lcd_send_data(keypadarr[4]);
		}
	}
}

/* LCD Section End -----------------------------------------------------------*/

/* Keypad Section Begin ------------------------------------------------------*/
void lcd_update_voltage(uint8_t channel, float num){
	char kpbuff[8];
	snprintf(kpbuff, 6, "%.2f", num);
	//V1 Set
	if(channel == 1){
		lcd_put_cur(0,3);
		lcd_send_string("      ");//Clear current number
		lcd_put_cur(0,3);
		lcd_send_string(kpbuff);
		lcd_send_string("V");

	}
	//V1 Out
	else if(channel == 2){
		lcd_put_cur(0,14);
		lcd_send_string("      ");//Clear current number
		lcd_put_cur(0,14);
		lcd_send_string(kpbuff);
		lcd_send_string("V");
	}
	//V2 Set
	else if(channel == 3){
		lcd_put_cur(2,3);
		lcd_send_string("      ");//Clear current number
		lcd_put_cur(2,3);
		lcd_send_string(kpbuff);
		lcd_send_string("V");
	}
	//V2 Out
	else if(channel == 4){
		lcd_put_cur(2,14);
		lcd_send_string("      ");//Clear current number
		lcd_put_cur(2,14);
		lcd_send_string(kpbuff);
		lcd_send_string("V");
	}
	else{
		//Error
	}
}
void lcd_update_amperage(uint8_t channel, float num){
	char kpbuff[8];
	snprintf(kpbuff, 5, "%.2f", num);
	//A1 Set
	if(channel == 1){
		lcd_put_cur(1,3);
		lcd_send_string("      ");//Clear current number
		lcd_put_cur(1,3);
		lcd_send_string(kpbuff);
		lcd_send_string("A");

	}
	//A1 Out
	else if(channel == 2){
		lcd_put_cur(1,14);
		lcd_send_string("      ");//Clear current number
		lcd_put_cur(1,14);
		lcd_send_string(kpbuff);
		lcd_send_string("A");
	}
	//A2 Set
	else if(channel == 3){
		lcd_put_cur(3,3);
		lcd_send_string("      ");//Clear current number
		lcd_put_cur(3,3);
		lcd_send_string(kpbuff);
		lcd_send_string("A");
	}
	//A2 Out
	else if(channel == 4){
		lcd_put_cur(3,14);
		lcd_send_string("      ");//Clear current number
		lcd_put_cur(3,14);
		lcd_send_string(kpbuff);
		lcd_send_string("A");
	}
	else{
		//Error
	}
}

/*
 * This function shifts character into and out of a 5 element array from the right.
 * This allows us to think about the number stored in the array as a normal number
 * that is read from left to right.
 * Passing a 'z' to this function will delete the last character.
 * Passing a '.' to this function will shift in a '.' if there is not already one in the array.
 * Passing a number ('1' not 1) to this function will shift in that number but will only
 * allow up to 2 numbers before a decimal and up to 2 numbers after a decimal.
 */
void updatekeypad(char num){
	if(num == 'z'){
		if(keypaditerator < keypadlength-1){
			//Update decimal "bool" if we remove a decimal
			if(keypadarr[4] == '.'){
				keypaddecimal = 0;
			}
			//shift out last entry if array isnt empty
			for(int i = 3; i >= 0; i--){
				keypadarr[i+1] = keypadarr[i];
			}
			keypadarr[0] = num;
			keypaditerator++;
		}
	}
	else if(num == '.'){
		if(keypaditerator >= keypadlength-3 && keypaddecimal == 0){
			//shift in new entry with up to two numbers preceeding it
			for(int i = 1; i < keypadlength; i++){
				keypadarr[i-1] = keypadarr[i];
			}
			keypadarr[keypadlength-1] = num;
			keypaddecimal = 1;
			keypaditerator--;
		}
	}
	else if(num >= '0' && num <= '9'){
		//Allow entries if only up to one number has been entered
		if(keypaditerator > 2){
			//shift in new entry
			for(int i = 1; i < keypadlength; i++){
				keypadarr[i-1] = keypadarr[i];
			}
			keypadarr[keypadlength-1] = num;
			keypaditerator--;
		}
		else if(keypaditerator <= 1 && keypaddecimal == 1 && keypadarr[1] == 'z' && keypadarr[2] != '.'){
			//shift in new entry
			for(int i = 1; i < keypadlength; i++){
				keypadarr[i-1] = keypadarr[i];
			}
			keypadarr[keypadlength-1] = num;
			keypaditerator--;
		}
		//Disallow third decimal place
		else if(keypaditerator <= 1 && keypaddecimal == 1 && keypadarr[1] == 'z'){
			//Do nothing
		}
		//Allow numbers after decimal place
		else if(keypaditerator > 0 && keypaddecimal == 1){
			//shift in new entry
			for(int i = 1; i < keypadlength; i++){
				keypadarr[i-1] = keypadarr[i];
			}
			keypadarr[keypadlength-1] = num;
			keypaditerator--;
		}
		//Allow second decimal place when num > 10
		else if(keypaditerator >= 0 && keypaddecimal == 1 && translatekeypad() >= 10.0){
			//shift in new entry
			for(int i = 1; i < keypadlength; i++){
				keypadarr[i-1] = keypadarr[i];
			}
			keypadarr[keypadlength-1] = num;
			keypaditerator--;
		}
	}
}

void clearkeypad(void){
	while(keypaditerator < 4){
		updatekeypad('z');
	}
}

float translatekeypad(void){
	float num = 0;
	int decimallocation = -1;

	for(int i = 0; i < keypadlength; i++){
		if(keypadarr[i] == '.'){
			decimallocation = i;
		}
	}

	if(decimallocation == -1){
		//No decimal in array
		int count = 1;
		for(int i = keypadlength-1; i >=0; i--){
			if(keypadarr[i] >= '0' && keypadarr[i] <= '9'){
				num += ( (int)keypadarr[i] - (int)'0' ) * (count);
				count = count * 10;
			}
		}
	}
	else{
		//First do numbers to the left of the decimal
		int count = 1;
		for(int i = decimallocation-1; i >=0; i--){
			if(keypadarr[i] >= '0' && keypadarr[i] <= '9'){
				num += ( (int)keypadarr[i] - (int)'0' ) * (count);
				count = count * 10;
			}
		}
		//Next do numbers to the right of the decimal
		count = 10;
		for(int i = decimallocation+1; i < keypadlength; i++){
			if(keypadarr[i] >= '0' && keypadarr[i] <= '9'){
				num += ( (float)(int)keypadarr[i] - (int)'0' ) / (float)(count);
				count = count * 10;
			}
		}
	}

	return num;
}

uint8_t checkkeypad(uint8_t which){
	//which=0 for voltage which=1 for amperage
	float temp = translatekeypad();
	if(which){
		if(temp >= 0 && temp <= 0.5){
			return 1;//valid
		}
		else{
			return 0;//invalid
		}
	}
	else{
		if(temp >= 0 && temp <= 12.00){
			return 1;//valid
		}
		else{
			return 0;//invalid
		}
	}
}

void keypadsm(char num){
	//A=V1;B=A1;C=V2;D=A2;
	if(kpenum == WAIT){
		//While in wait we only listen to letters for channel number and type
		if(num == 'A'){
			kpenum = V1;
			clearkeypad();
		}
		else if(num == 'B'){
			kpenum = A1;
			clearkeypad();
		}
		else if(num == 'C'){
			kpenum = V2;
			clearkeypad();
		}
		else if(num == 'D'){
			kpenum = A2;
			clearkeypad();
		}
	}
	else if(kpenum == V1){
		//While in channel listen to numbers/decimal and letters for ENTER
		if(num == 'A'){
			uint8_t test = checkkeypad(0);
			if(test){
				//Only update the value if valid
				voltnum1 = translatekeypad();
			}
			kpenum = WAIT;
			clearkeypad();
			first_shot = 1;
		}
		else if(num == 'B'){
			kpenum = WAIT;
			clearkeypad();
		}
		else if(num == 'C'){
			kpenum = WAIT;
			clearkeypad();
		}
		else if(num == 'D'){
			kpenum = WAIT;
			clearkeypad();
		}
		else if(num == '.'){
			//It "should" be impossible to pass in a bad decimal and we can ignore bad calls
			updatekeypad(num);
		}
		else if(num >= '0' && num <= '9'){
			//It "should" be impossible to overfill the array but we could do additional checks here for valid numbers
			updatekeypad(num);
			//Todo: Display keypad array on LCD
		}
		else if(num == '#'){
			updatekeypad('z');
		}
		else if(num == '+'){
			uint8_t test = checkkeypad(0);
			if(test){
				//Only update the value if valid
				voltnum1 = translatekeypad();
			}
			kpenum = WAIT;
			clearkeypad();
			first_shot = 1;
		}
		else if(num == '-'){
			kpenum = WAIT;
			clearkeypad();
		}
	}
	else if(kpenum == A1){
		//While in channel listen to numbers/decimal and letters for ENTER
		if(num == 'A'){
			kpenum = WAIT;
			clearkeypad();
		}
		else if(num == 'B'){
			uint8_t test = checkkeypad(1);
			if(test){
				//Only update the value if valid
				ampnum1 = translatekeypad();
			}
			//Todo: Display set number on LCD
			kpenum = WAIT;
			clearkeypad();
		}
		else if(num == 'C'){
			kpenum = WAIT;
			clearkeypad();
		}
		else if(num == 'D'){
			kpenum = WAIT;
			clearkeypad();
		}
		else if(num == '.'){
			//It "should" be impossible to pass in a bad decimal and we can ignore bad calls
			updatekeypad(num);
		}
		else if(num >= '0' && num <= '9'){
			//It "should" be impossible to overfill the array but we could do additional checks here for valid numbers
			updatekeypad(num);
		}
		else if(num == '#'){
			updatekeypad('z');
		}
		else if(num == '+'){
			uint8_t test = checkkeypad(1);
			if(test){
				//Only update the value if valid
				ampnum1 = translatekeypad();
			}
			//Todo: Display set number on LCD
			kpenum = WAIT;
			clearkeypad();
		}
		else if(num == '-'){
			kpenum = WAIT;
			clearkeypad();
		}
	}
	else if(kpenum == V2){
		//While in channel listen to numbers/decimal and letters for ENTER
		if(num == 'A'){
			kpenum = WAIT;
			clearkeypad();
			first_shot = 1;
		}
		else if(num == 'B'){
			kpenum = WAIT;
			clearkeypad();
		}
		else if(num == 'C'){
			uint8_t test = checkkeypad(0);
			if(test){
				//Only update the value if valid
				voltnum2 = translatekeypad();
			}
			kpenum = WAIT;
			clearkeypad();
		}
		else if(num == 'D'){
			kpenum = WAIT;
			clearkeypad();
		}
		else if(num == '.'){
			//It "should" be impossible to pass in a bad decimal and we can ignore bad calls
			updatekeypad(num);
		}
		else if(num >= '0' && num <= '9'){
			//It "should" be impossible to overfill the array but we could do additional checks here for valid numbers
			updatekeypad(num);
			//Todo: Display keypad array on LCD
		}
		else if(num == '#'){
			updatekeypad('z');
		}
		else if(num == '+'){
			uint8_t test = checkkeypad(0);
			if(test){
				//Only update the value if valid
				voltnum2 = translatekeypad();
			}
			kpenum = WAIT;
			clearkeypad();
		}
		else if(num == '-'){
			kpenum = WAIT;
			clearkeypad();
		}
	}
	else if(kpenum == A2){
		//While in channel listen to numbers/decimal and letters for ENTER
		if(num == 'A'){
			kpenum = WAIT;
			clearkeypad();
		}
		else if(num == 'B'){
			kpenum = WAIT;
			clearkeypad();
		}
		else if(num == 'C'){
			kpenum = WAIT;
			clearkeypad();
		}
		else if(num == 'D'){
			uint8_t test = checkkeypad(1);
			if(test){
				//Only update the value if valid
				ampnum2 = translatekeypad();
			}
			kpenum = WAIT;
			clearkeypad();
		}
		else if(num == '.'){
			//It "should" be impossible to pass in a bad decimal and we can ignore bad calls
			updatekeypad(num);
		}
		else if(num >= '0' && num <= '9'){
			//It "should" be impossible to overfill the array but we could do additional checks here for valid numbers
			updatekeypad(num);
			//Todo: Display keypad array on LCD
		}
		else if(num == '#'){
			updatekeypad('z');
		}
		else if(num == '+'){
			uint8_t test = checkkeypad(1);
			if(test){
				//Only update the value if valid
				ampnum2 = translatekeypad();
			}
			kpenum = WAIT;
			clearkeypad();
		}
		else if(num == '-'){
			kpenum = WAIT;
			clearkeypad();
		}
	}
}

void rowInput(void){
	GPIO_InitTypeDef GPIO_InitStruct = {0};

	//Deinit
	HAL_GPIO_DeInit(Row_1_GPIO_Port, Row_1_Pin);
	HAL_GPIO_DeInit(Row_2_GPIO_Port, Row_2_Pin);
	HAL_GPIO_DeInit(Row_3_GPIO_Port, Row_3_Pin);
	HAL_GPIO_DeInit(Row_4_GPIO_Port, Row_4_Pin);
	HAL_GPIO_DeInit(Row_5_GPIO_Port, Row_5_Pin);

	HAL_GPIO_DeInit(Col_1_GPIO_Port, Col_1_Pin);
	HAL_GPIO_DeInit(Col_2_GPIO_Port, Col_2_Pin);
	HAL_GPIO_DeInit(Col_3_GPIO_Port, Col_3_Pin);
	HAL_GPIO_DeInit(Col_4_GPIO_Port, Col_4_Pin);

	//Write zeros to outputs, should be by default but just in case
	HAL_GPIO_WritePin(Col_1_GPIO_Port, Col_1_Pin|Col_2_Pin|Col_3_Pin|Col_4_Pin, GPIO_PIN_RESET);

	/*Configure GPIO pins : Col1_Pin Col2_Pin Col3_Pin Col4_Pin */
  GPIO_InitStruct.Pin = Col_1_Pin|Col_2_Pin|Col_3_Pin|Col_4_Pin;
  GPIO_InitStruct.Mode = GPIO_MODE_OUTPUT_PP;
  GPIO_InitStruct.Pull = GPIO_NOPULL;
  GPIO_InitStruct.Speed = GPIO_SPEED_FREQ_LOW;
  HAL_GPIO_Init(Col_1_GPIO_Port, &GPIO_InitStruct);

	/*Configure GPIO pins : Row1_Pin Row2_Pin Row3_Pin Row4_Pin */
  GPIO_InitStruct.Pin = Row_1_Pin|Row_2_Pin|Row_3_Pin|Row_4_Pin|Row_5_Pin;
  GPIO_InitStruct.Mode = GPIO_MODE_IT_RISING_FALLING;
  GPIO_InitStruct.Pull = GPIO_PULLUP;
  HAL_GPIO_Init(Row_1_GPIO_Port, &GPIO_InitStruct);

	//Write zeros to outputs, should be by default but just in case
	HAL_GPIO_WritePin(Col_1_GPIO_Port, Col_1_Pin|Col_2_Pin|Col_3_Pin|Col_4_Pin, GPIO_PIN_RESET);

	//Reenable interrupts
	HAL_NVIC_SetPriority(EXTI15_10_IRQn, 0, 0);
  HAL_NVIC_EnableIRQ(EXTI15_10_IRQn);
}

void columnInput(void){
	GPIO_InitTypeDef GPIO_InitStruct = {0};

	//Disable interrupts
	//HAL_NVIC_SetPriority(EXTI15_10_IRQn, 0, 0);
  HAL_NVIC_DisableIRQ(EXTI15_10_IRQn);

	//Deinit
	HAL_GPIO_DeInit(Row_1_GPIO_Port, Row_1_Pin);
	HAL_GPIO_DeInit(Row_2_GPIO_Port, Row_2_Pin);
	HAL_GPIO_DeInit(Row_3_GPIO_Port, Row_3_Pin);
	HAL_GPIO_DeInit(Row_4_GPIO_Port, Row_4_Pin);
	HAL_GPIO_DeInit(Row_5_GPIO_Port, Row_5_Pin);

	HAL_GPIO_DeInit(Col_1_GPIO_Port, Col_1_Pin);
	HAL_GPIO_DeInit(Col_2_GPIO_Port, Col_2_Pin);
	HAL_GPIO_DeInit(Col_3_GPIO_Port, Col_3_Pin);
	HAL_GPIO_DeInit(Col_4_GPIO_Port, Col_4_Pin);

	//Write zeros to outputs, should be by default but just in case
	HAL_GPIO_WritePin(Row_1_GPIO_Port, Row_1_Pin|Row_2_Pin|Row_3_Pin|Row_4_Pin|Row_5_Pin, GPIO_PIN_RESET);

	/*Switch rows to outputs */
  GPIO_InitStruct.Pin = Row_1_Pin|Row_2_Pin|Row_3_Pin|Row_4_Pin|Row_5_Pin;
  GPIO_InitStruct.Mode = GPIO_MODE_OUTPUT_PP;
  GPIO_InitStruct.Pull = GPIO_NOPULL;
  GPIO_InitStruct.Speed = GPIO_SPEED_FREQ_LOW;
  HAL_GPIO_Init(Row_1_GPIO_Port, &GPIO_InitStruct);

	/*Switch columns to inputs */
  GPIO_InitStruct.Pin = Col_1_Pin|Col_2_Pin|Col_3_Pin|Col_4_Pin;
  GPIO_InitStruct.Mode = GPIO_MODE_INPUT;
  GPIO_InitStruct.Pull = GPIO_PULLUP;
  HAL_GPIO_Init(Col_1_GPIO_Port, &GPIO_InitStruct);

	//Write zeros to outputs, should be by default but just in case
	HAL_GPIO_WritePin(Col_1_GPIO_Port, Row_1_Pin|Row_2_Pin|Row_3_Pin|Row_4_Pin|Row_5_Pin, GPIO_PIN_RESET);
}
/* Keypad Section End --------------------------------------------------------*/

/* Interrupt Callback Section Begin ------------------------------------------*/
static void USB_Interrupt_Callback(void){
	if(strncmp("1",(char*)usbbuffer,sizeof("1")) == 0){
		HAL_GPIO_TogglePin(Status_LED_2_GPIO_Port, Status_LED_2_Pin);
	}
	memset (usbbuffer, '\0', 128);  // clear the buffer
}

void HAL_GPIO_EXTI_Callback(uint16_t GPIO_Pin){
	//Row 1
	if(GPIO_Pin == Row_1_Pin){
		//Falling edge
		if(HAL_GPIO_ReadPin(Row_1_GPIO_Port, Row_1_Pin) == 0){
			//Make sure we didn't interrupt on falling edge already
			if(kpedge != 0){
				kpedge = 0;
				//Save rowpin
				rowpin = 1;
				//start debounce
				HAL_TIM_Base_Start_IT(&htim2);
			}

		}
		//Rising edge
		else{
			//Make sure we didn't interrupt on rising edge already
			if(kpedge != 1){
				kpedge = 1;
				//Reset keypad detection vars
				rowpin = -1;
			}
		}
	}
	//Row2
	else if(GPIO_Pin == Row_2_Pin){
		//Falling edge
		if(HAL_GPIO_ReadPin(Row_1_GPIO_Port, Row_2_Pin) == 0){
			//Make sure we didn't interrupt on falling edge already
			if(kpedge != 0){
				kpedge = 0;
				//Save rowpin
				rowpin = 2;
				//start debounce
				HAL_TIM_Base_Start_IT(&htim2);
			}

		}
		//Rising edge
		else{
			//Make sure we didn't interrupt on rising edge already
			if(kpedge != 1){
				kpedge = 1;
				//Reset keypad detection vars
				rowpin = -1;
			}
		}
	}
	//Row3
	else if(GPIO_Pin == Row_3_Pin){
		//Falling edge
		if(HAL_GPIO_ReadPin(Row_1_GPIO_Port, Row_3_Pin) == 0){
			//Make sure we didn't interrupt on falling edge already
			if(kpedge != 0){
				kpedge = 0;
				//Save rowpin
				rowpin = 3;
				//start debounce
				HAL_TIM_Base_Start_IT(&htim2);
			}

		}
		//Rising edge
		else{
			//Make sure we didn't interrupt on rising edge already
			if(kpedge != 1){
				kpedge = 1;
				//Reset keypad detection vars
				rowpin = -1;
			}
		}
	}
	//Row4
	else if(GPIO_Pin == Row_4_Pin){
		//Falling edge
		if(HAL_GPIO_ReadPin(Row_1_GPIO_Port, Row_4_Pin) == 0){
			//Make sure we didn't interrupt on falling edge already
			if(kpedge != 0){
				kpedge = 0;
				//Save rowpin
				rowpin = 4;
				//start debounce
				HAL_TIM_Base_Start_IT(&htim2);
			}

		}
		//Rising edge
		else{
			//Make sure we didn't interrupt on rising edge already
			if(kpedge != 1){
				kpedge = 1;
				//Reset keypad detection vars
				rowpin = -1;
			}
		}
	}
	//Row4
	else if(GPIO_Pin == Row_5_Pin){
		//Falling edge
		if(HAL_GPIO_ReadPin(Row_1_GPIO_Port, Row_5_Pin) == 0){
			//Make sure we didn't interrupt on falling edge already
			if(kpedge != 0){
				kpedge = 0;
				//Save rowpin
				rowpin = 5;
				//start debounce
				HAL_TIM_Base_Start_IT(&htim2);
			}

		}
		//Rising edge
		else{
			//Make sure we didn't interrupt on rising edge already
			if(kpedge != 1){
				kpedge = 1;
				//Reset keypad detection vars
				rowpin = -1;
			}
		}
	}
}

void HAL_TIM_PeriodElapsedCallback(TIM_HandleTypeDef *htim)
{
	if(htim == &htim2){
		//Disable timer now that we're in its interrupt
		HAL_TIM_Base_Stop_IT(&htim2);
		//Row 1
		if(rowpin == 1){
			//Decode
			columnInput();
			//Col1
			if(HAL_GPIO_ReadPin(Col_1_GPIO_Port, Col_1_Pin) == 0){
				//Ch1
				HAL_GPIO_TogglePin(Status_LED_1_GPIO_Port, Status_LED_1_Pin);
			}
			//Col2
			else if(HAL_GPIO_ReadPin(Col_2_GPIO_Port, Col_2_Pin) == 0){
				//confirm
				keypadsm('+');
			}
			//Col3
			else if(HAL_GPIO_ReadPin(Col_3_GPIO_Port, Col_3_Pin) == 0){
				//cancel
				keypadsm('-');
			}
			//Col4
			else if(HAL_GPIO_ReadPin(Col_4_GPIO_Port, Col_4_Pin) == 0){
				//Ch2
				HAL_GPIO_TogglePin(Status_LED_2_GPIO_Port, Status_LED_2_Pin);
			}
			rowInput();
		}
		//Row2
		else if(rowpin == 2){
			//Decode
			columnInput();
			//Col1
			if(HAL_GPIO_ReadPin(Col_1_GPIO_Port, Col_1_Pin) == 0){
				keypadsm('7');
			}
			//Col2
			else if(HAL_GPIO_ReadPin(Col_2_GPIO_Port, Col_2_Pin) == 0){
				keypadsm('4');
			}
			//Col3
			else if(HAL_GPIO_ReadPin(Col_3_GPIO_Port, Col_3_Pin) == 0){
				keypadsm('1');
			}
			//Col4
			else if(HAL_GPIO_ReadPin(Col_4_GPIO_Port, Col_4_Pin) == 0){
				keypadsm('.');
			}
			rowInput();
		}
		//Row3
		else if(rowpin == 3){
			//Decode
			columnInput();
			//Col1
			if(HAL_GPIO_ReadPin(Col_1_GPIO_Port, Col_1_Pin) == 0){
				keypadsm('8');
			}
			//Col2
			else if(HAL_GPIO_ReadPin(Col_2_GPIO_Port, Col_2_Pin) == 0){
				keypadsm('5');
			}
			//Col3
			else if(HAL_GPIO_ReadPin(Col_3_GPIO_Port, Col_3_Pin) == 0){
				keypadsm('2');
			}
			//Col4
			else if(HAL_GPIO_ReadPin(Col_4_GPIO_Port, Col_4_Pin) == 0){
				keypadsm('0');
			}
			rowInput();
		}
		//Row4
		else if(rowpin == 4){
			//Decode
			columnInput();
			//Col1
			if(HAL_GPIO_ReadPin(Col_1_GPIO_Port, Col_1_Pin) == 0){
				keypadsm('9');
			}
			//Col2
			else if(HAL_GPIO_ReadPin(Col_2_GPIO_Port, Col_2_Pin) == 0){
				keypadsm('6');
			}
			//Col3
			else if(HAL_GPIO_ReadPin(Col_3_GPIO_Port, Col_3_Pin) == 0){
				keypadsm('3');
			}
			//Col4
			else if(HAL_GPIO_ReadPin(Col_4_GPIO_Port, Col_4_Pin) == 0){
				keypadsm('#');
			}
			rowInput();
		}
		//Row5
		else if(rowpin == 5){
			//Decode
			columnInput();
			//Col1
			if(HAL_GPIO_ReadPin(Col_1_GPIO_Port, Col_1_Pin) == 0){
				keypadsm('A');
			}
			//Col2
			else if(HAL_GPIO_ReadPin(Col_2_GPIO_Port, Col_2_Pin) == 0){
				keypadsm('B');
			}
			//Col3
			else if(HAL_GPIO_ReadPin(Col_3_GPIO_Port, Col_3_Pin) == 0){
				keypadsm('C');
			}
			//Col4
			else if(HAL_GPIO_ReadPin(Col_4_GPIO_Port, Col_4_Pin) == 0){
				keypadsm('D');
			}
			rowInput();
		}
	}
	else if(htim == &htim3){
		//Disable timer now that we're in its interrupt
		HAL_TIM_Base_Stop_IT(&htim3);
		//Update Display
		lcd_psu_update();
		//Start timer again
		HAL_TIM_Base_Start_IT(&htim3);
	}
}

void HAL_ADC_ConvCpltCallback(ADC_HandleTypeDef* hadc)
{
  adc_current = adcvalues[2];
	adc_linear = adcvalues[1];
	adc_opamp = adcvalues[0];
	adc_switching = adcvalues[3];
	adc_vref = adcvalues[4];
}

void HAL_UART_RxHalfCpltCallback(UART_HandleTypeDef *huart){
  //
	for(int i = 0; i < 32; i++){
		rxbuffercpy[i] = rxbuffer[i];
	}
}

void HAL_UART_RxCpltCallback(UART_HandleTypeDef *huart){
  //
	for(int i = 32; i < 64; i++){
		rxbuffercpy[i] = rxbuffer[i];
	}
	CDC_Transmit_FS(rxbuffercpy,64);
	if(strncmp("Hello World From Second MCU\n", (char*)rxbuffercpy, sizeof("Hello World From Second MCU\n")) == 0){
		HAL_GPIO_WritePin(Status_LED_2_GPIO_Port, Status_LED_2_Pin, GPIO_PIN_SET);
	}
	memset (rxbuffercpy, '\0', 64);  // clear the buffer
}

/* USER CODE END 4 */

void Error_Handler(void)
{
  __disable_irq();
  while (1)
  {
  }
}
